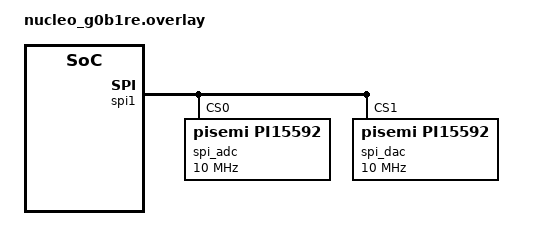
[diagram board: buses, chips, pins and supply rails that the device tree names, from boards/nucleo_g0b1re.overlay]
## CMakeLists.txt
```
#-------------------------------------------------------------------------------
# Zephyr Example Application
#
# Copyright (c) 2021 Nordic Semiconductor ASA
# SPDX-License-Identifier: Apache-2.0

cmake_minimum_required(VERSION 3.13.1)
find_package(Zephyr REQUIRED HINTS $ENV{ZEPHYR_BASE})

project(adc-dac LANGUAGES C)

target_sources(app PRIVATE src/main.c)
```

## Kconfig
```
# Copyright (c) 2021 Nordic Semiconductor ASA
# SPDX-License-Identifier: Apache-2.0
#
# This file is the application Kconfig entry point. All application Kconfig
# options can be defined here or included via other application Kconfig files.
# You can browse these options using the west targets menuconfig (terminal) or
# guiconfig (GUI).

menu "Zephyr"
source "Kconfig.zephyr"
endmenu

module = APP
module-str = APP
source "subsys/logging/Kconfig.template.log_config"

config SEQUENCE_SAMPLES
	int "Number of samples to be made on the sequence for each channel."
	default 12

config SEQUENCE_RESOLUTION
	int "Set the resolution of the sequence readings."
	default 12
```

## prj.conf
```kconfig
CONFIG_SHELL=y
CONFIG_LOG=y
CONFIG_SPI=y
CONFIG_SPI_SHELL=y
CONFIG_ADC=y
```

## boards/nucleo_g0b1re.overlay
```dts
/* Change `ostentus-i2c` to match your device's bus (example: `&i2c2`) */

/ {
	zephyr,user {

		dac = <&spi_dac>;
		dac-channel-id = <1>;
		dac-resolution = <12>;

	};

	aliases{
			piadc = &spi_adc;
	};
};

&spi1 {
	 status = "okay";

	 spi_adc: adc@0 {
		compatible = "pisemi,pi15592";
		reg = <0>;
		#io-channel-cells = <1>;
		#address-cells = <1>;
		#size-cells = <0>;
		spi-max-frequency = <10000000>;
		channel@0 {
			reg = <0>;
			zephyr,gain = "ADC_GAIN_1";
			zephyr,reference = "ADC_REF_INTERNAL";
			zephyr,acquisition-time = <ADC_ACQ_TIME_DEFAULT>;
			zephyr,resolution = <12>;
		};
	};

	spi_dac: dac@1 {
		compatible = "pisemi,pi15592";
		reg = <1>;
		#io-channel-cells = <1>;
		spi-max-frequency = <10000000>;
	};
};
```

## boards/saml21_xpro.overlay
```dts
/* Change `ostentus-i2c` to match your device's bus (example: `&i2c2`) */

&sercom2 {
    /* Needed for I2C writes used by libostentus */
    /*zephyr,concat-buf-size = <48>;*/

    sgm41296@21 {
        status = "okay";
        compatible = "sgmicro,sgm41296";
        reg = <0x21>;
    };
};
```

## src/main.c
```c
    /*
 * Copyright (c) 2022-2023 Golioth, Inc.
 *
 * SPDX-License-Identifier: Apache-2.0
 */

#include <zephyr/logging/log.h>
LOG_MODULE_REGISTER(pisemi_rd_template, LOG_LEVEL_DBG);

#include <app/drivers/pi15592.h> 
#include <app/drivers/pi15592_regmap.h> 

#include <zephyr/sys/printk.h>
#include <zephyr/sys/util.h>
#include <zephyr/kernel.h>
#include <zephyr/device.h>
#include <zephyr/devicetree.h>
#include <zephyr/drivers/adc.h>
#include <zephyr/drivers/dac.h>

#include <inttypes.h>
#include <stddef.h>
#include <stdint.h>

//static const struct device *dev = DEVICE_DT_GET_ANY(sgmicro_sgm41296);

#define AD559X_ADC_VREF_MV 2500U
#define ZEPHYR_USER_NODE DT_PATH(zephyr_user)

/*
#if !DT_NODE_EXISTS(ZEPHYR_USER_NODE) || \
	!DT_NODE_HAS_PROP(ZEPHYR_USER_NODE, io_channels)
#error "No suitable devicetree overlay specified"
#endif

#define DT_SPEC_AND_COMMA(node_id, prop, idx) \
	ADC_DT_SPEC_GET_BY_IDX(node_id, idx),
*/
// Data of ADC io-channels specified in devicetree.

/*
static const struct adc_dt_spec adc_channels[] = {
	DT_FOREACH_PROP_ELEM(ZEPHYR_USER_NODE, io_channels,
				 DT_SPEC_AND_COMMA)
};
*/

/* ADC node from the devicetree. */
#define ADC_NODE DT_ALIAS(piadc)

/* Data of ADC device specified in devicetree. */
static const struct device* adc_dev = DEVICE_DT_GET(ADC_NODE);

/* Data array of ADC channels for the specified ADC. */
static const struct adc_channel_cfg channel_cfgs[] = {
	DT_FOREACH_CHILD_SEP(ADC_NODE, ADC_CHANNEL_CFG_DT, (,)) };

/* Get the number of channels defined on the DTS. */
#define CHANNEL_COUNT ARRAY_SIZE(channel_cfgs)

#if (DT_NODE_HAS_PROP(ZEPHYR_USER_NODE, dac) && \
	DT_NODE_HAS_PROP(ZEPHYR_USER_NODE, dac_channel_id) && \
	DT_NODE_HAS_PROP(ZEPHYR_USER_NODE, dac_resolution))
#define DAC_NODE DT_PHANDLE(ZEPHYR_USER_NODE, dac)
#define DAC_CHANNEL_ID DT_PROP(ZEPHYR_USER_NODE, dac_channel_id)
#define DAC_RESOLUTION DT_PROP(ZEPHYR_USER_NODE, dac_resolution)
#else
#error "Unsupported board: see README and check /zephyr,user node"
#define DAC_NODE DT_INVALID_NODE
#define DAC_CHANNEL_ID 0
#define DAC_RESOLUTION 0
#endif

static const struct device* const dac_dev = DEVICE_DT_GET(DAC_NODE);

static const struct dac_channel_cfg dac_ch_cfg = {
	.channel_id = DAC_CHANNEL_ID,
	.resolution = DAC_RESOLUTION,
	.buffered = true
};


int main(void) {
	int err;
	uint32_t count = 0;
	//uint16_t buf;
	uint16_t channel_reading[CONFIG_SEQUENCE_SAMPLES][CHANNEL_COUNT];

	if (!device_is_ready(dac_dev)) {
		printk("DAC Device %s is not ready\n", dac_dev->name);
		return 0;
	}

	int ret = pi15592_dac_channel_setup(dac_dev, &dac_ch_cfg);
	if (ret != 0) {
			printk("DAC channel cfg is not success\n");
			return 0;
	}

	/* Options for the sequence sampling. */
	const struct adc_sequence_options options = {
		.extra_samplings = CONFIG_SEQUENCE_SAMPLES - 1,
		.interval_us = 0,
	};

	/* Configure the sampling sequence to be made. */
	struct adc_sequence sequence = {
		.buffer = channel_reading,
		/* buffer size in bytes, not number of samples */
		.buffer_size = sizeof(channel_reading),
		.resolution = CONFIG_SEQUENCE_RESOLUTION,
		.options = &options,
	};

	if (!device_is_ready(adc_dev)) {
		printf("ADC controller device %s not ready\n", adc_dev->name);
		return 0;
	}

	/* Configure channels individually prior to sampling. */
	for (size_t i = 0U; i < CHANNEL_COUNT; i++) {
		sequence.channels |= BIT(channel_cfgs[i].channel_id);
		err = pi15592_adc_channel_setup(adc_dev, &channel_cfgs[i]);
		if (err < 0) {
			printf("Could not setup channel #%d (%d)\n", i, err);
			return 0;
		}
	}

	/*
	struct adc_sequence sequence = {
		.buffer = &buf,
		.buffer_size = sizeof(buf),
	};

	for (size_t i = 0U; i < ARRAY_SIZE(adc_channels); i++) {
		if (!adc_is_ready_dt(&adc_channels[i])) {
			printk("ADC controller device %s not ready\n", adc_channels[i].dev->name);
			return 0;
		}

		err = pi15592_adc_channel_setup(adc_dev, &adc_channels[i]);
		if (err < 0) { 
			printk("Could not setup channel #%d (%d)\n", i, err);
			return 0;
		}
	}
*/
	
	
#ifndef CONFIG_COVERAGE
	while (1) {
#else
	for (int k = 0; k < 10; k++) {
#endif
		/*ADC*/
		printf("ADC sequence reading [%u]:\n", count++);
		k_msleep(1000);

		err = pi15592_adc_read(adc_dev, &sequence);
		if (err < 0) {
			printf("Could not read (%d)\n", err);
			continue;
		}

		for (size_t channel_index = 0U; channel_index < CHANNEL_COUNT; channel_index++) {
			int32_t val_mv;

			printf("- %s, channel %" PRId32 ", %" PRId32 " sequence samples:\n",
				adc_dev->name, channel_cfgs[channel_index].channel_id,
				CONFIG_SEQUENCE_SAMPLES);
			for (size_t sample_index = 0U; sample_index < CONFIG_SEQUENCE_SAMPLES; sample_index++) {

				val_mv = channel_reading[sample_index][channel_index];

				printf("- - %" PRId32, val_mv);
				err = adc_raw_to_millivolts(channel_cfgs[channel_index].reference, channel_cfgs[channel_index].gain, CONFIG_SEQUENCE_RESOLUTION, &val_mv);

				/* conversion to mV may not be supported, skip if not */
				if ((err < 0) || channel_cfgs[channel_index].reference == 0) {
					printf(" (value in mV not available)\n");
				}
				else {
					printf(" = %" PRId32 "mV\n", val_mv);
				}
			}
		}
		/*DAC*/
		/* Number of valid DAC values, e.g. 4096 for 12-bit DAC */
		const int dac_values = 1U << DAC_RESOLUTION;
		/*
		 * 1 msec sleep leads to about 4 sec signal period for 12-bit
		 * DACs. For DACs with lower resolution, sleep time needs to
		 * be increased.
		 * Make sure to sleep at least 1 msec even for future 16-bit
		 * DACs (lowering signal frequency).
		 */
		const int sleep_time = 4096 / dac_values > 0 ? 4096 / dac_values : 1;
		for (int i = 0; i < dac_values; i++) {
			ret = pi15592_dac_write(dac_dev, DAC_CHANNEL_ID, i);
			if (ret != 0) {
				printk("dac_write_value() failed with code %d\n", ret);
				return 0;
			}
			k_sleep(K_MSEC(sleep_time));
		}

	}
	return 0;
}
```
